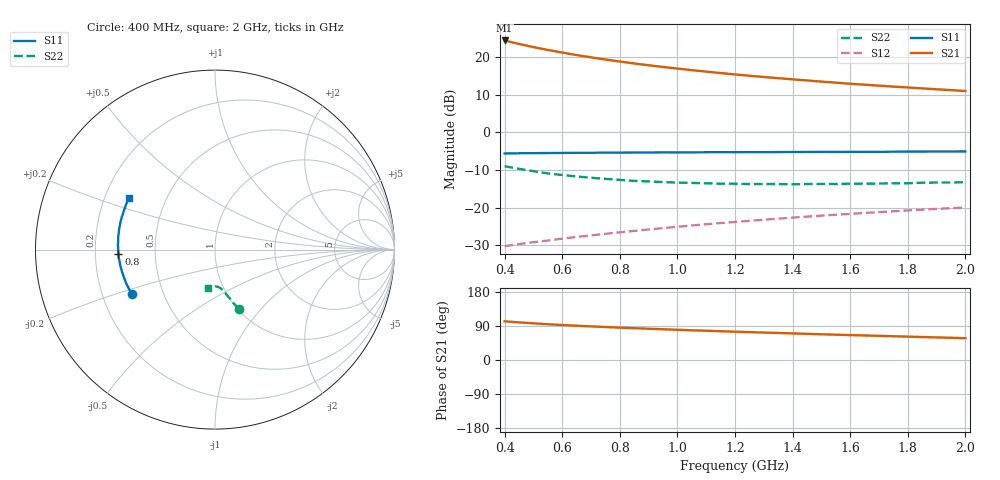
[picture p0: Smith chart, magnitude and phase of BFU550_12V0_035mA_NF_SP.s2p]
! Filename:  P:\Prog\Test\Noise\ATS_data\Testdata_Net\06 Compressed Noise after Statistics\BFU550_APG2013_43_D05_12p0V_035mA_NF_CM01_D.sf
! Date/Time: Fri 26/Apr/2013 13:07:25
! BFU550_APG2013_43_D05_12p0V_1to35mA_NF_CM01_Bias8_R.sf
! Noise Parameter Data File
! BFU550_APG2013_43_D05_12p0V_1to35mA_NF_CM01
! Date/time: Thu Apr 25 18:42:45 2013
! VAR V_out= 12.001000
! VAR I_out= 34.995000
! VAR V_in= 0.745500
! VAR I_in= 0.339200
! Device data file deembeded for feedlines and parallel
! Original file: \06 Compressed Noise after Statistics\BFU550_APG2013_43_D05_12p0V_035mA_NF_CM01_R.sf
! Feed-files: PR047V01_250413_Feed1.s2p, PR047V01_250413_Feed2.s2p
! Parallel-file: PR047V01_250413_Par.s2p
# MHz S MA R 50
!  Freq-MHz  S11-mag  S11-arg  S21-mag  S21-arg  S12-mag  S12-arg  S22-mag  S22-arg
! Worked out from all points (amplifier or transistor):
!   37 points, 400 MHz to 2 GHz, reference 50 ohm
!   highest |S21| = 24.4 dB at 400 MHz (marker M1)
!   |S21| within 3 dB of that: start of sweep to 584.9 MHz
!   unconditionally stable (mu >= 1): 1.146 GHz to end of sweep
!   at 500 MHz: K = 0.78, MSG = 25.9 dB, |S12| = -29.2 dB
!   at 1.1 GHz: K = 0.99, MSG = 20.3 dB, |S12| = -24.4 dB
!   at 2 GHz: K = 1.05, MAG = 14.0 dB, |S12| = -20.0 dB
!   lowest NFmin = 1.35 dB at 480 MHz
!   S11 on the Smith chart (normalised r, x): 400 MHz: 0.33, -0.22; 800 MHz: 0.30, -0.02; 2 GHz: 0.30, +0.25
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400  0.5243 -152.0  16.6 102.2  0.03084 54.0  0.3555 -67.9
433  0.5263 -155.2  15.46 100.3  0.03216 54.4  0.3363 -69.4
460  0.5282 -157.6  14.63 98.8  0.03324 54.8  0.3235 -70.4
480  0.5295 -159.1  14.08 97.8  0.03402 55.0  0.3135 -71.1
500  0.5298 -160.7  13.56 96.8  0.03478 55.3  0.3053 -71.7
550  0.5312 -164.4  12.42 94.4  0.03666 56.3  0.285 -73.0
600  0.533 -167.4  11.47 92.3  0.03878 56.9  0.2717 -74.4
650  0.5351 -170.2  10.63 90.4  0.04084 57.5  0.2598 -75.7
700  0.5357 -172.6  9.904 88.7  0.04292 58.1  0.2494 -76.5
750  0.5382 -175.1  9.273 87.0  0.04501 58.6  0.2414 -77.7
800  0.5384 -177.2  8.718 85.4  0.0471 59.1  0.2341 -78.8
850  0.5397 -179.2  8.22 84.0  0.04917 59.5  0.2268 -79.7
900  0.5397 178.7  7.773 82.5  0.05136 60.0  0.2229 -80.7
950  0.5421 177.0  7.387 81.1  0.05358 60.3  0.2187 -81.7
1050  0.5429 173.4  6.697 78.4  0.05803 60.7  0.2133 -83.5
1150  0.5443 170.3  6.125 76.0  0.06247 61.0  0.2084 -85.2
1200  0.5454 168.7  5.874 74.7  0.06469 61.1  0.2079 -86.2
1350  0.5472 164.6  5.238 71.3  0.07151 61.2  0.2059 -88.8
1500  0.5505 160.5  4.72 67.9  0.07838 61.0  0.2069 -91.5
1600  0.5512 157.8  4.419 65.7  0.08274 60.7  0.2083 -93.2
1750  0.5534 154.3  4.048 62.7  0.08955 60.4  0.2109 -96.1
2000  0.5582 148.9  3.54 57.7  0.1005 59.4  0.2182 -100.6
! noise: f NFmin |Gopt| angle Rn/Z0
400  1.422  0.3157  -173.7  0.0955
460  1.368  0.3539  -171.5  0.0824
600  1.371  0.3394  -169.7  0.0876
800  1.418  0.3549  -166.7  0.0878
1000  1.433  0.3663  -163.1  0.0888
1200  1.49  0.3756  -159.4  0.0901
1400  1.527  0.3886  -156.6  0.0917
1600  1.571  0.3826  -153.2  0.1043
1800  1.57  0.4028  -150.8  0.1027
2000  1.629  0.4199  -147  0.111
